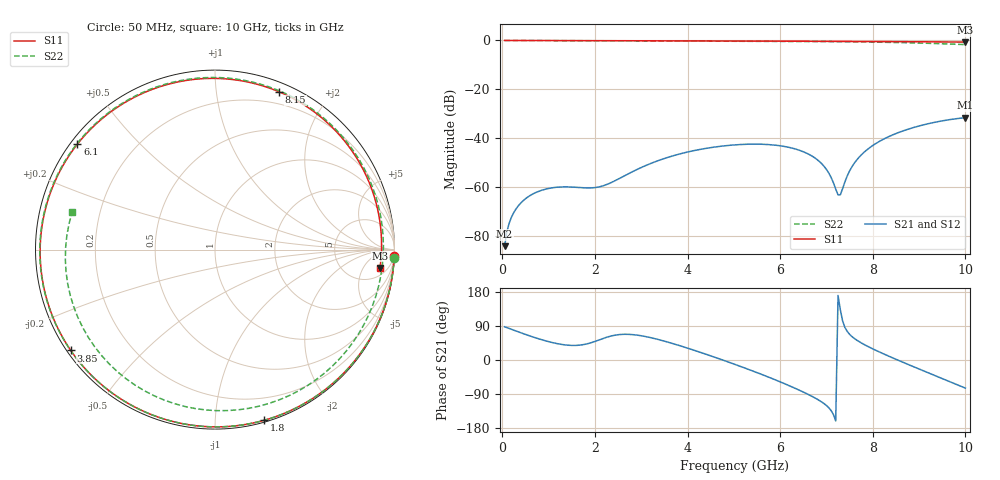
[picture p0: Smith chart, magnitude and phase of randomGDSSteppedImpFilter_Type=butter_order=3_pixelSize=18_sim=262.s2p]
! freq	dB(S11)	phase(S11)	dB(S12)	phase(S12)
!  dB(S21)	phase(S21)	dB(S22)	phase(S22)
!S-par simulation data
#  GHz  S  DB  R 50
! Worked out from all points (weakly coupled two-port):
!   200 points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, 50 MHz to 10 GHz, reference 50 ohm
!   highest |S21| = -31.62 dB at 10 GHz (marker M1); lowest = -84.2 dB at 50 MHz (marker M2)
!   lowest |S11| = -0.7 dB at 10 GHz (marker M3), VSWR 25.55, Z = 426 - j601 ohm
!   |S11| at or under -10 dB: nowhere
!   |S22| runs from -1.7 to 0.0 dB; largest |S21 - S12| = 0
!   S11 on the Smith chart (normalised r, x): 50 MHz: 1, -53; 1.8 GHz: 0.01, -1.33; 3.85 GHz: 0.01, -0.31; 6.1 GHz: 0.02, +0.34; 8.15 GHz: 0.08, +1.48; 10 GHz: 9, -12
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0.05  -0.01 -2.2  -84.23 87.6  -84.23 87.6  -0.00 -2.5
0.3  -0.02 -12.8  -68.88 76.3  -68.88 76.3  -0.02 -15.0
0.6  -0.03 -25.6  -63.50 63.3  -63.50 63.3  -0.03 -29.7
1.2  -0.06 -50.3  -60.06 42.8  -60.06 42.8  -0.07 -58.4
1.75  -0.09 -71.9  -60.33 40.5  -60.33 40.5  -0.10 -83.3
1.8  -0.09 -73.8  -60.37 41.7  -60.37 41.7  -0.10 -85.5
2.55  -0.12 -101.4  -56.31 67.4  -56.31 67.4  -0.14 -117.3
3.4  -0.15 -130.4  -48.97 53.1  -48.97 53.1  -0.17 -151.4
3.85  -0.17 -145.1  -46.38 37.1  -46.38 37.1  -0.19 -169.2
4.45  -0.20 -164.2  -44.02 13.1  -44.02 13.1  -0.23 166.4
5.05  -0.23 176.7  -42.72 -12.7  -42.72 -12.7  -0.27 140.5
6.1  -0.30 142.6  -43.43 -62.8  -43.43 -62.8  -0.37 88.5
6.7  -0.34 122.0  -47.48 -96.7  -47.48 -96.7  -0.43 53.7
7  -0.37 111.3  -52.81 -120.1  -52.81 -120.1  -0.47 34.8
7.3  -0.39 100.4  -63.18 131.9  -63.18 131.9  -0.51 14.9
7.6  -0.41 89.1  -50.29 57.0  -50.29 57.0  -0.57 -5.6
8.15  -0.45 67.9  -41.25 20.8  -41.25 20.8  -0.71 -44.8
8.35  -0.47 60.0  -39.33 9.8  -39.33 9.8  -0.78 -59.4
8.75  -0.51 44.0  -36.42 -11.1  -36.42 -11.1  -0.94 -89.3
9.1  -0.55 29.9  -34.53 -28.9  -34.53 -28.9  -1.12 -116.5
9.6  -0.61 9.7  -32.60 -54.1  -32.60 -54.1  -1.42 -158.2
10  -0.68 -6.4  -31.62 -74.2  -31.62 -74.2  -1.70 165.1
